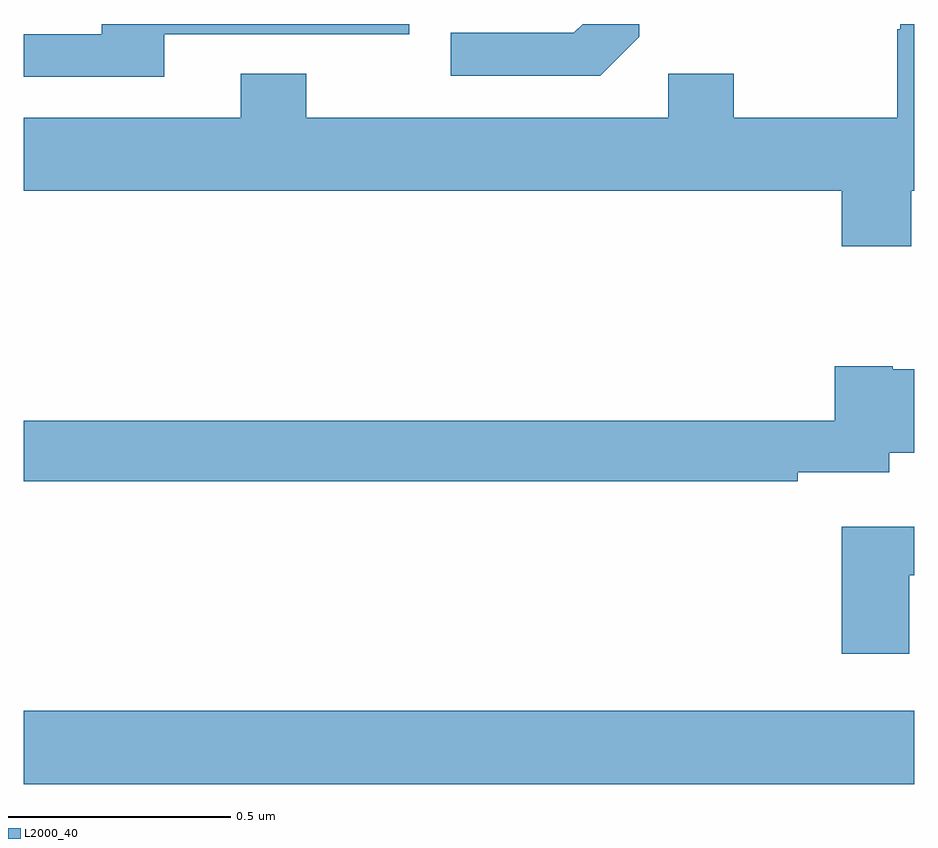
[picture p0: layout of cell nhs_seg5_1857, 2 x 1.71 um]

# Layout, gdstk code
import gdstk
lib = gdstk.Library(unit=1e-6, precision=1e-09)
def R(c, l, rs):  # rectangles x0, y0, x1, y1
    for r in rs: c.add(gdstk.rectangle(r[:2], r[2:], *l))
def P(c, l, *ps):  # polygons
    for p in ps: c.add(gdstk.Polygon(p, *l))
L2000_40 = (2000, 40)

nhs_seg5_1857 = lib.new_cell('nhs_seg5_1857')
R(nhs_seg5_1857, L2000_40, [(136,858.092,138,858.256)])
P(nhs_seg5_1857, L2000_40, [(137.993,859.424),(138,859.424),(138,859.799),(137.969,859.799),(137.969,859.787),(137.962,859.787),(137.962,859.588),(137.595,859.588),(137.595,859.687),(137.448,859.687),(137.448,859.588),(136.635,859.588),(136.635,859.687),(136.487,859.687),(136.487,859.588),(136,859.588),(136,859.424),(137.837,859.424),(137.837,859.3),(137.993,859.3)],
  [(137.382,859.77),(137.382,859.799),(137.255,859.799),(137.235,859.779),(136.959,859.779),(136.959,859.683),(137.295,859.683)],
  [(136.315,859.776),(136.866,859.776),(136.866,859.799),(136.175,859.799),(136.175,859.776),(136,859.776),(136,859.68),(136.315,859.68)],
  [(137.738,858.792),(137.944,858.792),(137.944,858.836),(138,858.836),(138,859.024),(137.952,859.024),(137.952,859.03),(137.822,859.03),(137.822,858.908),(136,858.908),(136,858.772),(137.738,858.772)],
  [(137.989,858.561),(138,858.561),(138,858.67),(137.837,858.67),(137.837,858.384),(137.989,858.384)])

lib.write_gds('nhs_seg5_1857.gds')
